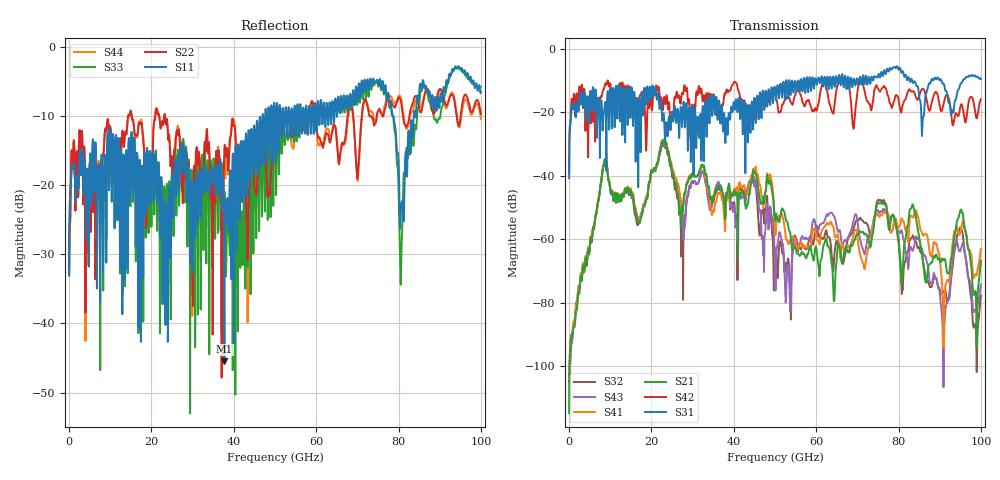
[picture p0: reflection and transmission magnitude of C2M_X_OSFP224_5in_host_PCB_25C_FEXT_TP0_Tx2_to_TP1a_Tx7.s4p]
# GHz S RI R 45
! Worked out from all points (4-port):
!   4000 points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, 25 MHz to 100 GHz, reference 45 ohm
!   strongest paths, dB at 25 MHz, 25.02 GHz, 50.02 GHz, 75.03 GHz, 100 GHz:
!     S31: -40.8, -19.9, -12.4, -8.5, -9.5
!     S42: -39.3, -21.2, -13.8, -12.5, -15.9
!     S21: -114.8, -38.8, -54.2, -48.6, -66.7
!     S41: -103.9, -37.5, -57.4, -52.0, -63.0
!     S43: -109.9, -38.8, -70.3, -50.8, -74.3
!     S32: -104.9, -40.1, -64.0, -47.6, -77.8
!   lowest |S11| = -45.5 dB at 37.73 GHz (marker M1), VSWR 1.01, Z = 44.9 - j0.472 ohm
!   |S11| at or under -10 dB: start of sweep to 46.97 GHz; 47.11 GHz to 47.61 GHz (500.1 MHz wide, 1.06 % of centre); 78.74 GHz to 83.66 GHz (4.921 GHz wide, 6.06 % of centre)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
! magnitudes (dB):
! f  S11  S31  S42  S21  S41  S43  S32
! 25 MHz  -33.0  -40.8  -39.3  -114.8  -103.9  -109.9  -104.9
! 8.725 GHz  -15.5  -17.1  -11.2  -34.9  -34.7  -34.8  -34.9
! 37.73 GHz  -45.5  -20.9  -14.2  -49.3  -54.3  -48.5  -48.8
! 53.5 GHz  -9.6  -10.2  -15.6  -57.3  -61.0  -74.1  -71.1
! 64.35 GHz  -10.9  -10.3  -19.0  -79.5  -57.3  -52.7  -66.4
! 95.08 GHz  -3.1  -11.0  -17.9  -50.8  -57.4  -63.3  -56.2
! 100 GHz  -6.5  -9.5  -15.9  -66.7  -63.0  -74.3  -77.8
